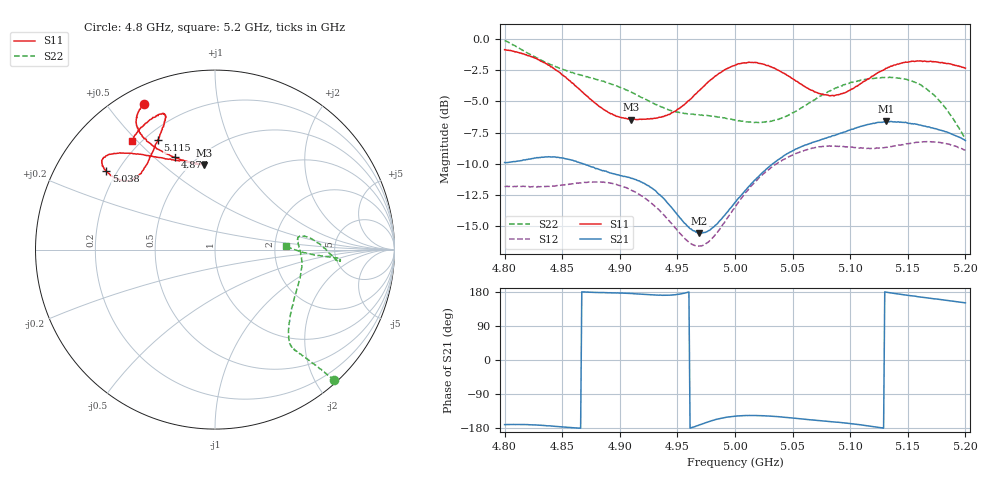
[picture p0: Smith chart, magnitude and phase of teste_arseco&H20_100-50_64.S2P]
! Network Analyzer HP8722D
! Hewlett-Packard
! Data name: Linha & Wilkinson
! Saver's name: Rodrigo Anjos
! Comments: Teste da utilização de aquisição
! continua pelo VNA HP8722D
! Time and date: 6/5/2025 13:06
!  Frequency  S11  S21  S12  S22
# HZ  S  MA R 50
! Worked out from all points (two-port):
!   401 points, 4.8 GHz to 5.2 GHz, reference 50 ohm
!   highest |S21| = -6.61 dB at 5.131 GHz (marker M1); lowest = -15.6 dB at 4.969 GHz (marker M2)
!   |S21| within 3 dB of the highest: 4.823 GHz to 4.854 GHz (30.93 MHz wide, 0.639 % of centre); 5.039 GHz to end of sweep
!   lowest |S11| = -6.5 dB at 4.91 GHz (marker M3), VSWR 2.81, Z = 28.7 + j34.9 ohm
!   |S11| at or under -10 dB: nowhere
!   |S22| runs from -8.0 to -0.1 dB; largest |S21 - S12| = 0.83
!   S11 on the Smith chart (normalised r, x): 4.8 GHz: 0.07, +0.62; 4.877 GHz: 0.39, +0.59; 5.038 GHz: 0.16, +0.31; 5.115 GHz: 0.25, +0.58; 5.2 GHz: 0.17, +0.49
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4.8e9  0.9042 115.8  0.3199 -170.5  0.2567 -86.0  0.9844 -47.5
4.832e9  0.8116 122.4  0.336 -172.4  0.256 -77.6  0.82 -49.5
4.846e9  0.7425 122.5  0.3356 -175.6  0.259 -72.8  0.768 -50.4
4.867e9  0.6151 117.9  0.3177 179.8  0.2655 -67.3  0.7141 -51.4
4.877e9  0.5608 113.3  0.3065 178.6  0.2674 -66.2  0.6941 -51.8
4.91e9  0.4748 97.4  0.2765 175.4  0.2479 -67.7  0.6106 -47.9
4.924e9  0.4784 96.3  0.259 172.4  0.2265 -69.0  0.5669 -42.8
4.934e9  0.485 99.1  0.2388 170.9  0.207 -69.3  0.5372 -37.4
4.947e9  0.5107 107.1  0.206 172.0  0.1776 -67.0  0.512 -28.9
4.969e9  0.6203 123.5  0.1668 -171.3  0.1482 -47.8  0.4963 -15.1
4.982e9  0.7026 130.5  0.1774 -158.3  0.1625 -32.9  0.4902 -8.1
5e9  0.7837 137.2  0.2214 -148.3  0.2125 -21.3  0.4727 -0.4
5.018e9  0.8032 141.8  0.274 -146.4  0.2698 -18.3  0.4634 5.8
5.038e9  0.7469 144.3  0.3292 -149.6  0.3204 -18.4  0.476 8.8
5.067e9  0.6218 141.9  0.3849 -158.1  0.3652 -20.5  0.5624 4.8
5.087e9  0.5939 133.5  0.4113 -163.9  0.3718 -23.5  0.6346 -1.5
5.115e9  0.6894 117.5  0.4538 -173.7  0.3645 -26.6  0.6889 -5.3
5.131e9  0.7618 111.9  0.4671 179.1  0.3679 -28.3  0.6997 -5.0
5.134e9  0.7704 111.1  0.465 177.7  0.3698 -28.7  0.7012 -4.9
5.16e9  0.8147 112.2  0.4519 166.5  0.3859 -34.7  0.6581 -3.8
5.179e9  0.8034 118.6  0.4304 159.1  0.3838 -40.7  0.5541 -3.1
5.2e9  0.7627 127.2  0.3916 150.8  0.3582 -46.3  0.3965 2.5
